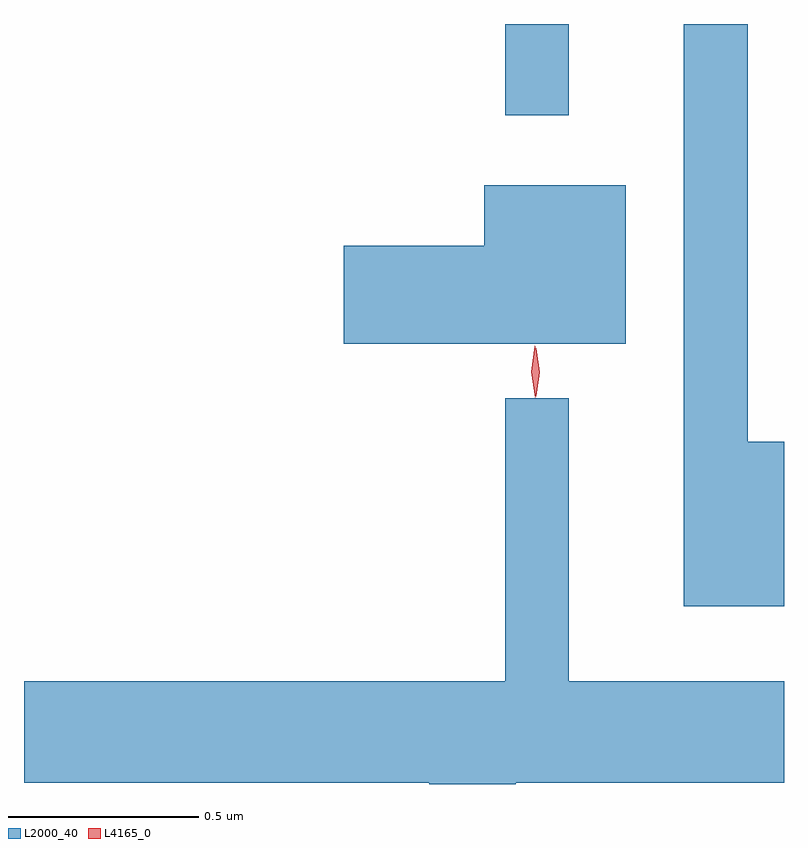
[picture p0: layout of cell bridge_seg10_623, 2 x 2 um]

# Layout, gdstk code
import gdstk
lib = gdstk.Library(unit=1e-6, precision=1e-09)
def R(c, l, rs):  # rectangles x0, y0, x1, y1
    for r in rs: c.add(gdstk.rectangle(r[:2], r[2:], *l))
def P(c, l, *ps):  # polygons
    for p in ps: c.add(gdstk.Polygon(p, *l))
L2000_40 = (2000, 40)
L4165_0 = (4165, 0)

bridge_seg10_623 = lib.new_cell('bridge_seg10_623')
R(bridge_seg10_623, L2000_40, [(760.361,2102.353,760.529,2102.593)])
P(bridge_seg10_623, L2000_40, [(761.095,2101.494),(760.999,2101.494),(760.999,2102.593),(760.831,2102.593),(760.831,2101.061),(761.095,2101.061)],
  [(760.679,2102.169),(760.306,2102.169),(760.306,2102.009),(759.936,2102.009),(759.936,2101.751),(760.679,2101.751)],
  [(760.389,2100.596),(761.095,2100.596),(761.095,2100.864),(760.529,2100.864),(760.529,2101.608),(760.361,2101.608),(760.361,2100.864),(759.095,2100.864),(759.095,2100.596),(760.161,2100.596),(760.161,2100.593),(760.389,2100.593)])
P(bridge_seg10_623, L4165_0, [(760.442,2101.613),(760.442,2101.613),(760.432,2101.676),(760.442,2101.74),(760.442,2101.74),(760.443,2101.74),(760.452,2101.676),(760.443,2101.613)],
  [(760.44,2101.61),(760.44,2101.61),(760.43,2101.678),(760.439,2101.745),(760.439,2101.746),(760.44,2101.745),(760.45,2101.678),(760.44,2101.61)])

lib.write_gds('bridge_seg10_623.gds')
